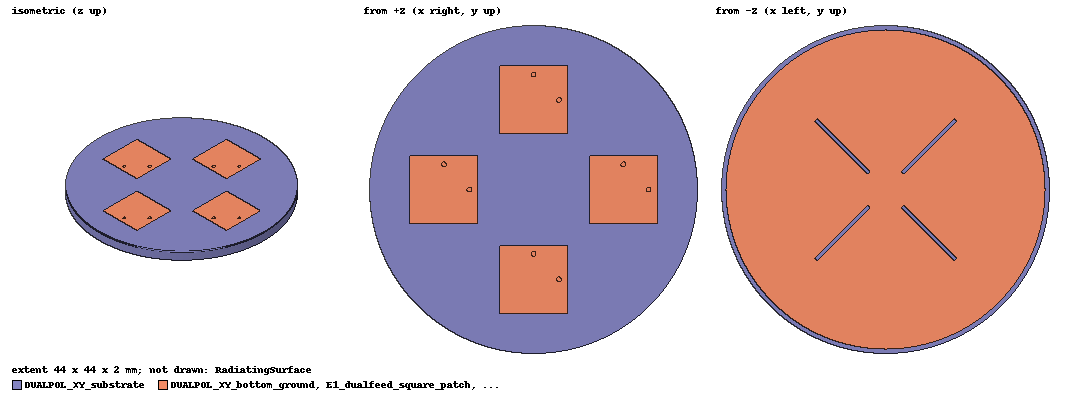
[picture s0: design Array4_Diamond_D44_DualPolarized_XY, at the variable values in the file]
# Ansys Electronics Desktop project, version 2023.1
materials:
  vacuum: permittivity=1
  RO4350B_custom_D44_Topology: permittivity=3.48 permeability=1 dielectric_loss_tangent=0.0037
  copper: permeability=0.999991 conductivity=58000000
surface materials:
  Steel-oxidised-surface

design Array4_Diamond_D44_DualPolarized_XY (HFSS, HFSS Modal Network, model units mm)
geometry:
  DUALPOL_XY_substrate [RO4350B_custom_D44_Topology] = cylinder(axis=Z, base_centre=(0mm, 0mm, 0mm), radius=22mm, height=2mm, segments=128)
  DUALPOL_XY_bottom_ground [copper] = circle(normal=Z, centre=(0mm, 0mm, 0mm), radius=21.4mm, segments=128)
  ground_isolation_slot_1 = polyline(z=0mm, xy in mm: (2.4112341, 2.1142493) (9.4823019, 9.1853171) (9.1853171, 9.4823019) (2.1142493, 2.4112341) (2.4112341, 2.1142493), closed, covered)
  ground_isolation_slot_2 = polyline(z=0mm, xy in mm: (-2.1142493, 2.4112341) (-9.1853171, 9.4823019) (-9.4823019, 9.1853171) (-2.4112341, 2.1142493) (-2.1142493, 2.4112341), closed, covered)
  ground_isolation_slot_3 = polyline(z=0mm, xy in mm: (-2.4112341, -2.1142493) (-9.4823019, -9.1853171) (-9.1853171, -9.4823019) (-2.1142493, -2.4112341) (-2.4112341, -2.1142493), closed, covered)
  ground_isolation_slot_4 = polyline(z=0mm, xy in mm: (2.1142493, -2.4112341) (9.1853171, -9.4823019) (9.4823019, -9.1853171) (2.4112341, -2.1142493) (2.1142493, -2.4112341), closed, covered)
  E1_dualfeed_square_patch [copper] = polyline(z=2mm, xy in mm: (7.4458153, -4.575) (16.595815, -4.575) (16.595815, 4.575) (7.4458153, 4.575) (7.4458153, -4.575), closed, covered)
  P1A_feed_pad [copper] = circle(normal=Z, centre=(15.420815mm, 0mm, 2mm), radius=0.32mm, segments=36)
  P1A_lumped_port_sheet = polyline(x=15.420815mm, yz in mm: (-0.25, 0) (0.25, 0) (0.25, 2) (-0.25, 2) (-0.25, 0), closed, covered)
  P1B_feed_pad [copper] = circle(normal=Z, centre=(12.020815mm, 3.4mm, 2mm), radius=0.32mm, segments=36)
  P1B_lumped_port_sheet = polyline(x=12.020815mm, yz in mm: (3.15, 0) (3.65, 0) (3.65, 2) (3.15, 2) (3.15, 0), closed, covered)
  E2_dualfeed_square_patch [copper] = polyline(z=2mm, xy in mm: (-4.575, 7.4458153) (4.575, 7.4458153) (4.575, 16.595815) (-4.575, 16.595815) (-4.575, 7.4458153), closed, covered)
  P2A_feed_pad [copper] = circle(normal=Z, centre=(3.4mm, 12.020815mm, 2mm), radius=0.32mm, segments=36)
  P2A_lumped_port_sheet = polyline(x=3.4mm, yz in mm: (11.770815, 0) (12.270815, 0) (12.270815, 2) (11.770815, 2) (11.770815, 0), closed, covered)
  P2B_feed_pad [copper] = circle(normal=Z, centre=(7.3606265e-16mm, 15.420815mm, 2mm), radius=0.32mm, segments=36)
  P2B_lumped_port_sheet = polyline(x=7.3606265e-16mm, yz in mm: (15.170815, 0) (15.670815, 0) (15.670815, 2) (15.170815, 2) (15.170815, 0), closed, covered)
  E3_dualfeed_square_patch [copper] = polyline(z=2mm, xy in mm: (-16.595815, -4.575) (-7.4458153, -4.575) (-7.4458153, 4.575) (-16.595815, 4.575) (-16.595815, -4.575), closed, covered)
  P3A_feed_pad [copper] = circle(normal=Z, centre=(-8.6208153mm, 1.4721253e-15mm, 2mm), radius=0.32mm, segments=36)
  P3A_lumped_port_sheet = polyline(x=-8.6208153mm, yz in mm: (-0.25, 0) (0.25, 0) (0.25, 2) (-0.25, 2) (-0.25, 0), closed, covered)
  P3B_feed_pad [copper] = circle(normal=Z, centre=(-12.020815mm, 3.4mm, 2mm), radius=0.32mm, segments=36)
  P3B_lumped_port_sheet = polyline(x=-12.020815mm, yz in mm: (3.15, 0) (3.65, 0) (3.65, 2) (3.15, 2) (3.15, 0), closed, covered)
  E4_dualfeed_square_patch [copper] = polyline(z=2mm, xy in mm: (-4.575, -16.595815) (4.575, -16.595815) (4.575, -7.4458153) (-4.575, -7.4458153) (-4.575, -16.595815), closed, covered)
  P4A_feed_pad [copper] = circle(normal=Z, centre=(3.4mm, -12.020815mm, 2mm), radius=0.32mm, segments=36)
  P4A_lumped_port_sheet = polyline(x=3.4mm, yz in mm: (-12.270815, 0) (-11.770815, 0) (-11.770815, 2) (-12.270815, 2) (-12.270815, 0), closed, covered)
  P4B_feed_pad [copper] = circle(normal=Z, centre=(-2.2081879e-15mm, -8.6208153mm, 2mm), radius=0.32mm, segments=36)
  P4B_lumped_port_sheet = polyline(x=-2.2081879e-15mm, yz in mm: (-8.8708153, 0) (-8.3708153, 0) (-8.3708153, 2) (-8.8708153, 2) (-8.8708153, 0), closed, covered)
  DUALPOL_XY_bottom_ground.subtract(ground_isolation_slot_1..ground_isolation_slot_4)
  RadiatingSurface [vacuum] = region(absolute_offset=14.285714mm on all sides)
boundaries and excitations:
  DUALPOL_XY_PEC_metallization: Perfect E Objects=[DUALPOL_XY_bottom_ground, E1_dualfeed_square_patch, P1A_feed_pad, P1B_feed_pad, E2_dualfeed_square_patch, P2A_feed_pad, P2B_feed_pad, E3_dualfeed_square_patch, P3A_feed_pad, P3B_feed_pad, E4_dualfeed_square_patch, P4A_feed_pad, P4B_feed_pad]
  Open1: Radiation Objects=RadiatingSurface
  P1A: Lumped Port Objects=P1A_lumped_port_sheet LumpedPortType=Modal Modes{Mode1{IntLine{(15.420815, 0, 2) -> (15.420815, 0, 0)} CharImp=Zpi RenormImp=50ohm}} Impedance=50ohm
  P1B: Lumped Port Objects=P1B_lumped_port_sheet LumpedPortType=Modal Modes{Mode1{IntLine{(12.020815, 3.4, 2) -> (12.020815, 3.4, 0)} CharImp=Zpi RenormImp=50ohm}} Impedance=50ohm
  P2A: Lumped Port Objects=P2A_lumped_port_sheet LumpedPortType=Modal Modes{Mode1{IntLine{(3.4, 12.020815, 2) -> (3.4, 12.020815, 0)} CharImp=Zpi RenormImp=50ohm}} Impedance=50ohm
  P2B: Lumped Port Objects=P2B_lumped_port_sheet LumpedPortType=Modal Modes{Mode1{IntLine{(0, 15.420815, 2) -> (0, 15.420815, 0)} CharImp=Zpi RenormImp=50ohm}} Impedance=50ohm
  P3A: Lumped Port Objects=P3A_lumped_port_sheet LumpedPortType=Modal Modes{Mode1{IntLine{(-8.6208153, 0, 2) -> (-8.6208153, 0, 0)} CharImp=Zpi RenormImp=50ohm}} Impedance=50ohm
  P3B: Lumped Port Objects=P3B_lumped_port_sheet LumpedPortType=Modal Modes{Mode1{IntLine{(-12.020815, 3.4, 2) -> (-12.020815, 3.4, 0)} CharImp=Zpi RenormImp=50ohm}} Impedance=50ohm
  P4A: Lumped Port Objects=P4A_lumped_port_sheet LumpedPortType=Modal Modes{Mode1{IntLine{(3.4, -12.020815, 2) -> (3.4, -12.020815, 0)} CharImp=Zpi RenormImp=50ohm}} Impedance=50ohm
  P4B: Lumped Port Objects=P4B_lumped_port_sheet LumpedPortType=Modal Modes{Mode1{IntLine{(0, -8.6208153, 2) -> (0, -8.6208153, 0)} CharImp=Zpi RenormImp=50ohm}} Impedance=50ohm
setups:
  Setup_CH9: HfssDriven Frequency=8GHz MaxDeltaS=0.05 MaximumPasses=4 MinimumPasses=1 MinimumConvergedPasses=1 PercentRefinement=30 BasisOrder=1 PortAccuracy=2 DrivenSolverType="Direct Solver"
    sweep Sweep_CH9: 7.738GHz to 8.233GHz, 3 points; Type=Discrete SaveFields SaveRadFields
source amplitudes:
  P1A:1: 1W 0deg
  P1B:1, P2A:1, P2B:1, P3A:1, P3B:1, P4A:1, P4B:1: 0W 0deg
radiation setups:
  3D: Infinite Sphere Theta=0deg..180deg step 2deg Phi=-180deg..180deg step 2deg
  Elevation: Infinite Sphere Theta=-180deg..180deg step 1deg Phi=0deg..90deg step 90deg
  Azimuth: Infinite Sphere Theta=90deg..90deg step 0deg Phi=-180deg..180deg step 1deg
  Upper_Hemisphere_5deg: Infinite Sphere Theta=0deg..360deg step 5deg Phi=0deg..90deg step 5deg
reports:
  DUALPOL_XY_S_Parameters: dB(S(P2B:1,P2B:1)), dB(S(P3A:1,P3A:1)), dB(S(P3B:1,P3B:1)), dB(S(P4A:1,P4A:1)), dB(S(P2A:1,P2A:1)), dB(S(P1B:1,P1B:1)), dB(S(P1A:1,P1A:1)), dB(S(P4B:1,P4B:1)), dB(S(P2B:1,P3A:1)), dB(S(P2B:1,P3B:1)), dB(S(P2B:1,P4A:1)), dB(S(P2B:1,P2A:1)), dB(S(P2B:1,P1B:1)), dB(S(P2B:1,P1A:1)), dB(S(P2B:1,P4B:1)), dB(S(P3A:1,P2B:1)), dB(S(P3A:1,P3B:1)), dB(S(P3A:1,P4A:1)), dB(S(P3A:1,P2A:1)), dB(S(P3A:1,P1B:1)), dB(S(P3A:1,P1A:1)), dB(S(P3A:1,P4B:1)), dB(S(P3B:1,P2B:1)), dB(S(P3B:1,P3A:1)), dB(S(P3B:1,P4A:1)), dB(S(P3B:1,P2A:1)), dB(S(P3B:1,P1B:1)), dB(S(P3B:1,P1A:1)), dB(S(P3B:1,P4B:1)), dB(S(P4A:1,P2B:1)), dB(S(P4A:1,P3A:1)), dB(S(P4A:1,P3B:1)), dB(S(P4A:1,P2A:1)), dB(S(P4A:1,P1B:1)), dB(S(P4A:1,P1A:1)), dB(S(P4A:1,P4B:1)), dB(S(P2A:1,P2B:1)), dB(S(P2A:1,P3A:1)), dB(S(P2A:1,P3B:1)), dB(S(P2A:1,P4A:1))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 vs Freq on Setup_CH9 : Sweep_CH9
  DUALPOL_XY_GainTotal_8GHz: dB(GainTotal) vs Phi, Theta on Setup_CH9 : Sweep_CH9, Upper_Hemisphere_5deg [Freq=8GHz]
  DUALPOL_XY_AxialRatio_8GHz: AxialRatioValue vs Phi, Theta on Setup_CH9 : Sweep_CH9, Upper_Hemisphere_5deg [Freq=8GHz]
